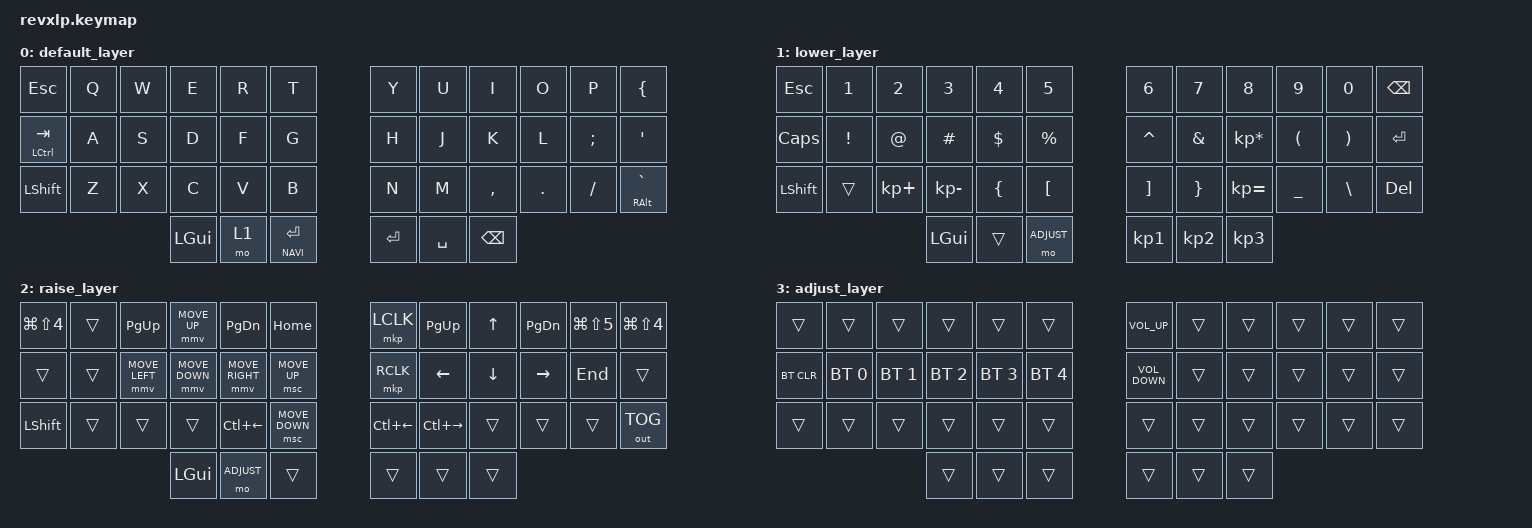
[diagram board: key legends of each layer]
/*
 * Copyright (c) 2020 The ZMK Contributors
 *
 * SPDX-License-Identifier: MIT
 */

#include <behaviors.dtsi>
#include <dt-bindings/zmk/keys.h>
#include <dt-bindings/zmk/bt.h>
#include <dt-bindings/zmk/outputs.h>
#include <behaviors/mouse_keys.dtsi>

#define QWERTY 0
#define NUMB 1
#define NAVI 2
#define ADJUST 3
#define MOUSE 4  

/ {
    tap_dances {
    	shifty: shift_caps_word {
		compatible = "zmk,behavior-tap-dance";
		#binding-cells = <0>;
		tapping-term-ms = <150>;
		bindings = <&kp LSHFT>, <&caps_word>;
	};
    };

    keymap {
        compatible = "zmk,keymap";

                default_layer {
// .--------------------------------------------------------------.       .-----------------------------------------------------------.
// |   ESC        |    Q    |    W   |   E    |    R    |    T    |       |   Y   |    U    |    I    |    O    |     P    |    [     |
// |--------------+---------+--------+--------+---------+---------|       |-------+---------+---------+---------+----------+----------|
// |   CTRL/Tab   |    A    |    S   |   D    |    F    |    G    |       |   H   |    J    |    K    |    L    |     ;    |     '    |
// |--------------+---------+--------+--------+---------+---------|       |-------+---------+---------+---------+----------+----------|
// |   SHFT       |    Z    |    X   |   C    |    V    |    B    |       |   N   |    M    |    ,    |    .    |     /    | ` | ALT  |
// '---------------------------------+--------+---------+---------+       |-------+---------+---------+-------------------------------'
//                                   |  GUI   |   MO1   |   ENT   |       |  MO4  |   SPC  |  BKSP   |
//                                   '--------+---------+---------'       '-------+---------+---------'
            bindings = <
   &kp ESC        &kp Q       &kp W      &kp E     &kp R           &kp T          &kp Y       &kp U           &kp I        &kp O     &kp P      &kp LEFT_BRACE 
   &mt LCTRL TAB  &kp A       &kp S      &kp D     &kp F           &kp G          &kp H       &kp J           &kp K        &kp L     &kp SEMI   &kp SQT
   &kp LSHFT      &kp Z       &kp X      &kp C     &kp V           &kp B          &kp N       &kp M           &kp COMMA    &kp DOT   &kp FSLH   &mt RALT GRAVE
                  &kp LGUI    &mo 1      &lt NAVI RET              &kp RET       &kp SPACE    &kp BSPC
            >;
        };
                lower_layer {
// .--------------------------------------------------------------.       .-----------------------------------------------------------.
// |   ESC        |    1    |    2   |   3    |    4    |    5    |       |   6   |    7    |    8    |    9    |     0    |   BKSP   |
// |--------------+---------+--------+--------+---------+---------|       |-------+---------+---------+---------+----------+----------|
// |  CAPSLOCK    |    !    |    @   |   #    |    $    |    %    |       |   ^   |    &    |    *    |    (    |     )    |    ENT   |
// |--------------+---------+--------+--------+---------+---------|       |-------+---------+---------+---------+----------+----------|
// |   SHFT       |         |    +   |   -    |    {    |    [    |       |   ]   |    }    |    =    |    _    |     \    |    DEL   |
// '---------------------------------+--------+---------+---------+       |-------+---------+---------+-------------------------------'
//                                   |  GUI   |         |   MO3   |       |   ,   |    .    |   ?     |
//                                   '--------+---------+---------'       '-------+---------+---------'
            bindings = <
   &kp ESC      &kp N1       &kp N2            &kp N3             &kp N4               &kp N5            &kp N6                   &kp N7                     &kp N8                 &kp N9                   &kp N0            &kp BSPC
   &kp CAPSLOCK &kp EXCL     &kp AT            &kp HASH           &kp DLLR             &kp PRCNT         &kp CARET                &kp AMPS                   &kp KP_MULTIPLY        &kp LPAR                 &kp RPAR          &kp RET
   &kp LSHFT    &trans       &kp KP_PLUS       &kp KP_MINUS       &kp LEFT_BRACE       &kp LEFT_BRACKET  &kp RIGHT_BRACKET        &kp RIGHT_BRACE            &kp KP_EQUAL           &kp UNDERSCORE           &kp BACKSLASH     &kp DEL
                                             &kp LGUI           &trans               &mo ADJUST        &kp KP_N1                &kp KP_N2                  &kp KP_N3
            >;
        };
                
                raise_layer {
// .----------------------------------------------------------------.       .-----------------------------------------------------------------.
// |   CMD+SHIFT+4  |       |   PU   |  UP    |    PD    |   HOME   |       |         |    RCLK  |    UP   |   PD    |CMD+SHIFT+5|CMD+SHIFT+4 |
// |----------------+-------+--------+--------+----------+----------|       |---------+----------+---------+---------+----------+-------------|
// |                |       |  LEFT  |  DOWN  |   RIGHT  |   END    |       |  UP     |   LEFT   |   DOWN  |  RIGHT  |          |             |
// |----------------+-------+--------+--------+----------+----------|       |---------+----------+---------+---------+----------+-------------|
// |     SHFT       |       |        |        |CTRL+LEFT |CTRL+RIGHT|       |    DOWN |CTRL+RIGHT|         |         |          |   OUT_TOG   |
// '---------------------------------+--------+----------+----------+       |---------+----------+---------+----------------------------------'
//                                   |  GUI   |   MO3    |          |       |         |          |         |
//                                   '--------+----------+----------'       '---------+----------+---------'

            bindings = <
   &kp LG(LS(N4))  &trans     &kp PAGE_UP        &mmv MOVE_UP       &kp PAGE_DOWN        &kp HOME                &mkp LCLK            &kp PAGE_UP             &kp UP_ARROW       &kp PAGE_DOWN      &kp LG(LS(N5))     &kp LG(LS(N4))
   &trans          &trans     &mmv MOVE_LEFT    &mmv MOVE_DOWN     &mmv MOVE_RIGHT     &msc MOVE_UP                &mkp RCLK             &kp LEFT_ARROW          &kp DOWN_ARROW     &kp RIGHT_ARROW    &kp END            &trans
   &kp LSHFT       &trans     &trans             &trans            &kp LC(LEFT_ARROW)     &msc MOVE_DOWN     &kp LC(LEFT_ARROW)   &kp LC(RIGHT_ARROW)     &trans             &trans             &trans             &out OUT_TOG
                              &kp LGUI           &mo ADJUST        &trans              &trans   &trans   &trans
            >;
        };

                adjust_layer {
// .--------------------------------------------------------.       .--------------------------------------------------------------.
// |         |        |        |        |         |         |       |  VOL+  |        |         |         |          |             |
// |---------+--------+--------+--------+---------+---------|       |--------+--------+---------+---------+----------+-------------|
// |  BTCLR  |  BT1   |  BT2   |  BT3   |  BT4    |  BT5    |       |  VOL-  |        |         |         |          |             |
// |---------+--------+--------+--------+---------+---------|       |--------+--------+---------+---------+----------+-------------|
// |         |        |        |        |         |         |       |        |        |         |         |          |             |
// '---------------------------+--------+---------+---------+       |--------+--------+---------+----------------------------------'
//                             |        |         |         |       |        |        |         |
//                             '--------+---------+---------'       '--------+--------+---------'

            bindings = <
   &trans      &trans          &trans         &trans          &trans          &trans            &kp C_VOLUME_UP    &trans &trans &trans &trans &trans
   &bt BT_CLR  &bt BT_SEL 0    &bt BT_SEL 1   &bt BT_SEL 2    &bt BT_SEL 3    &bt BT_SEL 4      &kp C_VOLUME_DOWN  &trans &trans &trans &trans &trans
   &trans      &trans          &trans         &trans          &trans          &trans            &trans             &trans &trans &trans &trans &trans
                                   &trans &trans &trans   &trans &trans &trans
            >;
        };

    };
};

